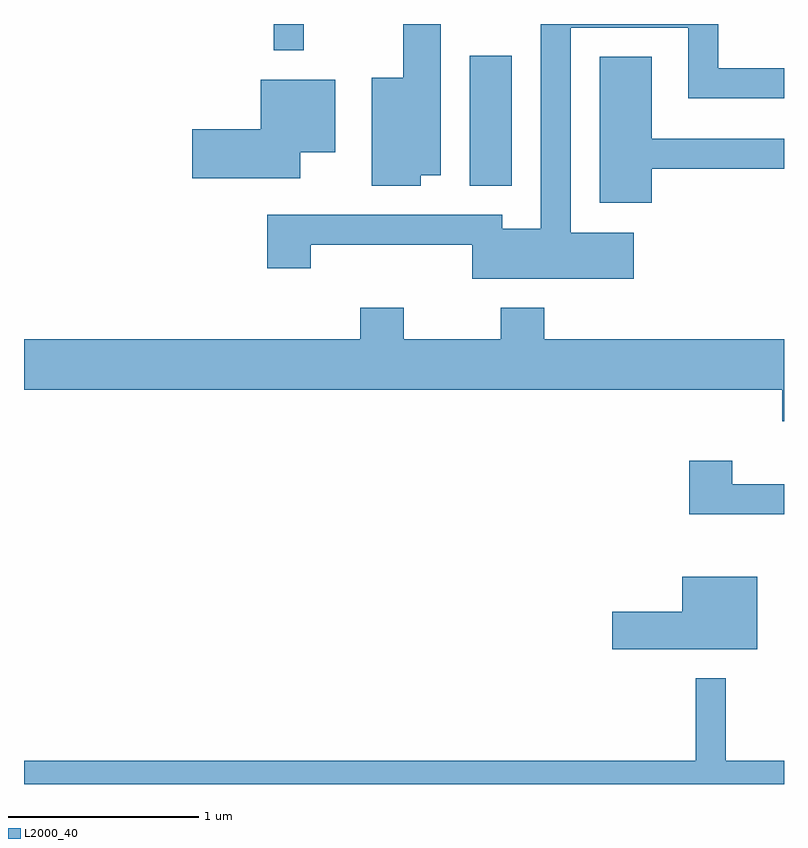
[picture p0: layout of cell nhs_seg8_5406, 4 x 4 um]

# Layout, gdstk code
import gdstk
lib = gdstk.Library(unit=1e-6, precision=1e-09)
def R(c, l, rs):  # rectangles x0, y0, x1, y1
    for r in rs: c.add(gdstk.rectangle(r[:2], r[2:], *l))
def P(c, l, *ps):  # polygons
    for p in ps: c.add(gdstk.Polygon(p, *l))
L2000_40 = (2000, 40)

nhs_seg8_5406 = lib.new_cell('nhs_seg8_5406')
R(nhs_seg8_5406, L2000_40, [(349.956,1837.491,350.179,1838.174), (348.926,1838.203,349.084,1838.342)])
P(nhs_seg8_5406, L2000_40, [(350.819,1837.244),(350.489,1837.244),(350.489,1838.321),(351.106,1838.321),(351.106,1837.951),(351.611,1837.951),(351.611,1838.109),(351.264,1838.109),(351.264,1838.342),(350.331,1838.342),(350.331,1837.264),(350.129,1837.264),(350.129,1837.339),(348.891,1837.339),(348.891,1837.056),(349.119,1837.056),(349.119,1837.181),(349.971,1837.181),(349.971,1837.001),(350.819,1837.001)],
  [(349.699,1837.546),(349.804,1837.546),(349.804,1838.342),(349.606,1838.342),(349.606,1838.059),(349.441,1838.059),(349.441,1837.491),(349.699,1837.491)],
  [(350.914,1837.581),(351.611,1837.581),(351.611,1837.739),(350.914,1837.739),(350.914,1838.169),(350.641,1838.169),(350.641,1837.401),(350.914,1837.401)],
  [(349.064,1837.666),(349.249,1837.666),(349.249,1838.049),(348.856,1838.049),(348.856,1837.789),(348.496,1837.789),(348.496,1837.531),(349.064,1837.531)],
  [(351.611,1836.684),(350.349,1836.684),(350.349,1836.849),(350.121,1836.849),(350.121,1836.684),(349.609,1836.684),(349.609,1836.849),(349.381,1836.849),(349.381,1836.684),(347.611,1836.684),(347.611,1836.416),(351.601,1836.416),(351.601,1836.251),(351.611,1836.251)],
  [(351.611,1835.919),(351.339,1835.919),(351.339,1836.044),(351.111,1836.044),(351.111,1835.761),(351.611,1835.761)],
  [(351.469,1835.434),(351.076,1835.434),(351.076,1835.249),(350.706,1835.249),(350.706,1835.051),(351.469,1835.051)],
  [(351.611,1834.464),(351.304,1834.464),(351.304,1834.898),(351.146,1834.898),(351.146,1834.464),(347.611,1834.464),(347.611,1834.342),(351.611,1834.342)])

lib.write_gds('nhs_seg8_5406.gds')
